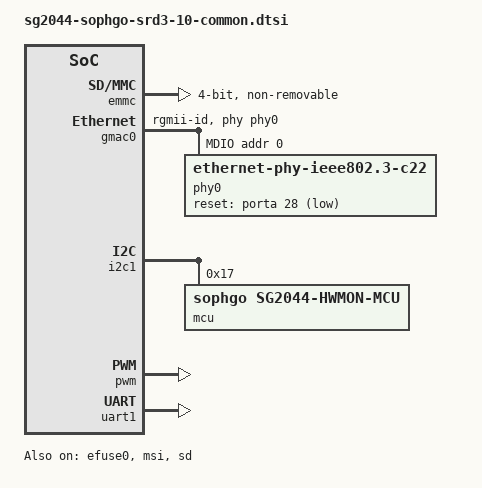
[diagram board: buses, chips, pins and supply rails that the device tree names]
// SPDX-License-Identifier: (GPL-2.0 OR MIT)
/*
 * Copyright (C) 2026 Inochi Amaoto <inochiama@gmail.com>
 */

#include "sg2044.dtsi"

&osc {
	clock-frequency = <25000000>;
};

&emmc {
	bus-width = <4>;
	no-sdio;
	no-sd;
	non-removable;
	wp-inverted;
	status = "okay";
};

&efuse0 {
	status = "okay";
};

&gmac0 {
	phy-handle = <&phy0>;
	phy-mode = "rgmii-id";
	status = "okay";

	mdio {
		phy0: phy@0 {
			compatible = "ethernet-phy-ieee802.3-c22";
			reg = <0>;
			reset-gpios = <&porta 28 GPIO_ACTIVE_LOW>;
			reset-assert-us = <10000>;
			reset-deassert-us = <10000>;
			rx-internal-delay-ps = <2050>;
		};
	};
};

&i2c1 {
	status = "okay";

	mcu: syscon@17 {
		compatible = "sophgo,sg2044-hwmon-mcu", "sophgo,sg2042-hwmon-mcu";
		reg = <0x17>;
		#thermal-sensor-cells = <1>;
	};
};

&msi {
	status = "okay";
};

&pwm {
	status = "okay";
};

&sd {
	bus-width = <4>;
	no-sdio;
	no-mmc;
	wp-inverted;
	status = "okay";
};

&uart0 {
	/* for firmware */
	status = "reserved";
};

&uart1 {
	status = "okay";
};
